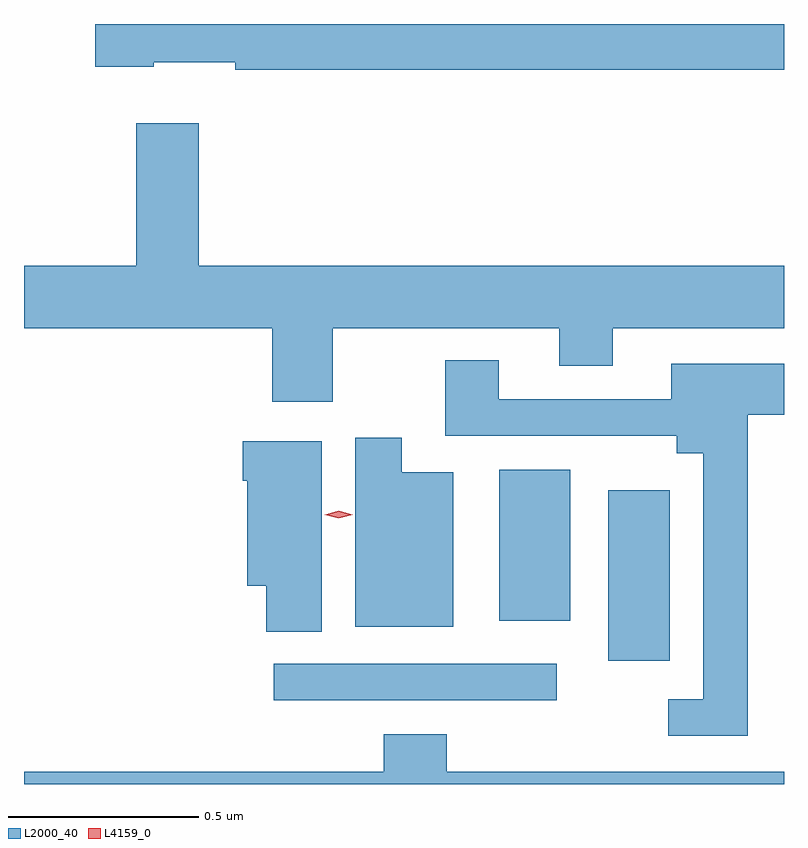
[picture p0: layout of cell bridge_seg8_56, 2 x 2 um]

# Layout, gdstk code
import gdstk
lib = gdstk.Library(unit=1e-6, precision=1e-09)
def R(c, l, rs):  # rectangles x0, y0, x1, y1
    for r in rs: c.add(gdstk.rectangle(r[:2], r[2:], *l))
def P(c, l, *ps):  # polygons
    for p in ps: c.add(gdstk.Polygon(p, *l))
L2000_40 = (2000, 40)
L4159_0 = (4159, 0)

bridge_seg8_56 = lib.new_cell('bridge_seg8_56')
R(bridge_seg8_56, L2000_40, [(1076.457,1088.88,1077.202,1088.976), (1077.338,1088.985,1077.499,1089.433), (1077.05,1089.089,1077.238,1089.487)])
P(bridge_seg8_56, L2000_40, [(1077.8,1090.66),(1075.988,1090.66),(1075.988,1090.547),(1076.142,1090.547),(1076.142,1090.559),(1076.356,1090.559),(1076.356,1090.54),(1077.8,1090.54)],
  [(1076.613,1089.86),(1077.209,1089.86),(1077.209,1089.761),(1077.349,1089.761),(1077.349,1089.86),(1077.8,1089.86),(1077.8,1090.024),(1076.26,1090.024),(1076.26,1090.399),(1076.096,1090.399),(1076.096,1090.024),(1075.8,1090.024),(1075.8,1089.86),(1076.453,1089.86),(1076.453,1089.666),(1076.613,1089.666)],
  [(1077.704,1089.632),(1077.8,1089.632),(1077.8,1089.766),(1077.503,1089.766),(1077.503,1089.672),(1077.049,1089.672),(1077.049,1089.775),(1076.909,1089.775),(1076.909,1089.576),(1077.518,1089.576),(1077.518,1089.53),(1077.588,1089.53),(1077.588,1088.883),(1077.495,1088.883),(1077.495,1088.787),(1077.704,1088.787)],
  [(1076.929,1089.481),(1076.794,1089.481),(1076.794,1089.571),(1076.672,1089.571),(1076.672,1089.074),(1076.929,1089.074)],
  [(1076.584,1089.562),(1076.375,1089.562),(1076.375,1089.458),(1076.387,1089.458),(1076.387,1089.182),(1076.438,1089.182),(1076.438,1089.061),(1076.584,1089.061)],
  [(1077.8,1088.692),(1076.912,1088.692),(1076.912,1088.791),(1076.747,1088.791),(1076.747,1088.692),(1075.8,1088.692),(1075.8,1088.66),(1077.8,1088.66)])
P(bridge_seg8_56, L4159_0, [(1076.628,1089.359),(1076.591,1089.369),(1076.591,1089.369),(1076.591,1089.369),(1076.628,1089.379),(1076.665,1089.369),(1076.665,1089.368),(1076.665,1089.368)])

lib.write_gds('bridge_seg8_56.gds')
